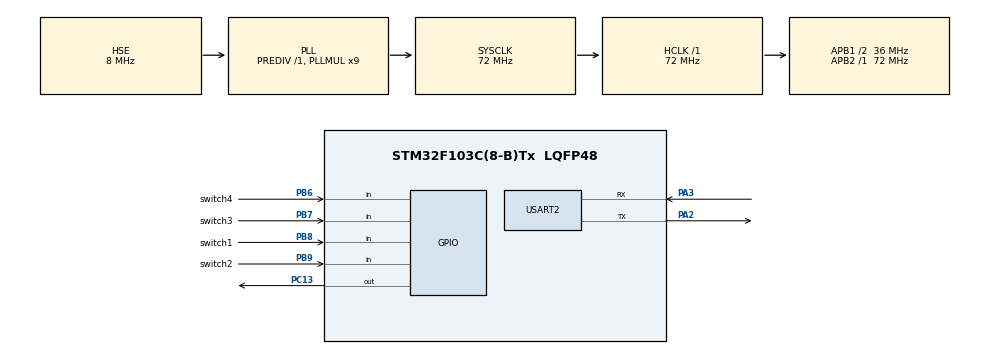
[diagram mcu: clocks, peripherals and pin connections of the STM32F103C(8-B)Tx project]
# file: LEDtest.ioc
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Mcu.Family=STM32F1
Mcu.Name=STM32F103C(8-B)Tx
Mcu.Package=LQFP48
NVIC.PriorityGroup=NVIC_PRIORITYGROUP_4
NVIC.USART2_IRQn=true\:0\:0\:false\:false\:true\:true\:true\:true
PA13.Mode=Serial_Wire
PA13.Signal=SYS_JTMS-SWDIO
PA14.Mode=Serial_Wire
PA14.Signal=SYS_JTCK-SWCLK
PA2.Mode=Asynchronous
PA2.Signal=USART2_TX
PA3.Mode=Asynchronous
PA3.Signal=USART2_RX
PB6.GPIO_Label=switch4
PB6.GPIO_PuPd=GPIO_PULLUP
PB6.Signal=GPIO_Input
PB7.GPIO_Label=switch3
PB7.GPIO_PuPd=GPIO_PULLUP
PB7.Signal=GPIO_Input
PB8.GPIO_Label=switch1
PB8.GPIO_PuPd=GPIO_PULLUP
PB8.Signal=GPIO_Input
PB9.GPIO_Label=switch2
PB9.GPIO_PuPd=GPIO_PULLUP
PB9.Signal=GPIO_Input
PC13-TAMPER-RTC.PinState=GPIO_PIN_SET
PC13-TAMPER-RTC.Signal=GPIO_Output
PC14-OSC32_IN.Mode=LSE-External-Oscillator
PC14-OSC32_IN.Signal=RCC_OSC32_IN
PC15-OSC32_OUT.Mode=LSE-External-Oscillator
PC15-OSC32_OUT.Signal=RCC_OSC32_OUT
PD0-OSC_IN.Mode=HSE-External-Oscillator
PD0-OSC_IN.Signal=RCC_OSC_IN
PD1-OSC_OUT.Mode=HSE-External-Oscillator
PD1-OSC_OUT.Signal=RCC_OSC_OUT
ProjectManager.HeapSize=0x200
ProjectManager.StackSize=0x400
ProjectManager.TargetToolchain=CMake
RCC.AHBFreq_Value=72000000
RCC.APB1CLKDivider=RCC_HCLK_DIV2
RCC.APB1Freq_Value=36000000
RCC.APB1TimFreq_Value=72000000
RCC.APB2Freq_Value=72000000
RCC.APB2TimFreq_Value=72000000
RCC.HCLKFreq_Value=72000000
RCC.PLLMUL=RCC_PLL_MUL9
RCC.PLLSourceVirtual=RCC_PLLSOURCE_HSE
RCC.SYSCLKFreq_VALUE=72000000
RCC.SYSCLKSource=RCC_SYSCLKSOURCE_PLLCLK
RCC.USBFreq_Value=72000000
USART2.VirtualMode=VM_ASYNC
board=custom

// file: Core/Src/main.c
/* USER CODE BEGIN Header */
/**
  ******************************************************************************
  * @file           : main.c
  * @brief          : Main program body
  ******************************************************************************
  * @attention
  *
  * Copyright (c) 2026 STMicroelectronics.
  * All rights reserved.
  *
  * This software is licensed under terms that can be found in the LICENSE file
  * in the root directory of this software component.
  * If no LICENSE file comes with this software, it is provided AS-IS.
  *
  ******************************************************************************
  */
/* USER CODE END Header */
#include "main.h"

UART_HandleTypeDef huart2;

void SystemClock_Config(void);
static void MX_GPIO_Init(void);
static void MX_USART2_UART_Init(void);

int main(void)
{

  /* MCU Configuration--------------------------------------------------------*/

  /* Reset of all peripherals, Initializes the Flash interface and the Systick. */
  HAL_Init();

  /* Configure the system clock */
  SystemClock_Config();

  /* Initialize all configured peripherals */
  MX_GPIO_Init();
  MX_USART2_UART_Init();
  /* USER CODE BEGIN 2 */
  // 引脚对应关系（按下=低电平）:
  // PB6 (switch4) -> horizontal_min
  // PB7 (switch3) -> vertical_min
  // PB8 (switch1) -> vertical_max
  // PB9 (switch2) -> horizontal_max
  GPIO_PinState last_horizontal_min_state = GPIO_PIN_SET;
  GPIO_PinState last_vertical_min_state = GPIO_PIN_SET;
  GPIO_PinState last_vertical_max_state = GPIO_PIN_SET;
  GPIO_PinState last_horizontal_max_state = GPIO_PIN_SET;

  /* USER CODE END 2 */

  /* Infinite loop */
  while (1)
  {

    /* USER CODE BEGIN 3 */
    // 读取 4 个开关状态（按下=低电平）
    GPIO_PinState horizontal_min_state = HAL_GPIO_ReadPin(switch4_GPIO_Port, switch4_Pin); // PB6
    GPIO_PinState vertical_min_state = HAL_GPIO_ReadPin(switch3_GPIO_Port, switch3_Pin);   // PB7
    GPIO_PinState vertical_max_state = HAL_GPIO_ReadPin(switch1_GPIO_Port, switch1_Pin);   // PB8
    GPIO_PinState horizontal_max_state = HAL_GPIO_ReadPin(switch2_GPIO_Port, switch2_Pin); // PB9

    // 当任意一个开关为低电平时，PC13 拉低；否则拉高
    if (horizontal_min_state == GPIO_PIN_RESET ||
        vertical_min_state == GPIO_PIN_RESET ||
        vertical_max_state == GPIO_PIN_RESET ||
        horizontal_max_state == GPIO_PIN_RESET)
    {
      HAL_GPIO_WritePin(GPIOC, GPIO_PIN_13, GPIO_PIN_RESET);
    }
    else
    {
      HAL_GPIO_WritePin(GPIOC, GPIO_PIN_13, GPIO_PIN_SET);
    }

    // 处理 horizontal_min 的状态变化和持续输出
    if (horizontal_min_state != last_horizontal_min_state)
    {
      // 状态改变时发送相应消息
      if (horizontal_min_state == GPIO_PIN_RESET)
      {
        HAL_UART_Transmit(&huart2, (uint8_t*)"horizontal_min_1\r\n", 18, HAL_MAX_DELAY);
      }
      else
      {
        HAL_UART_Transmit(&huart2, (uint8_t*)"horizontal_min_0\r\n", 18, HAL_MAX_DELAY);
      }
      last_horizontal_min_state = horizontal_min_state;
    }
    else if (horizontal_min_state == GPIO_PIN_RESET)
    {
      // 保持低电平时，持续输出
      HAL_UART_Transmit(&huart2, (uint8_t*)"horizontal_min_1\r\n", 18, HAL_MAX_DELAY);
    }
    else if (horizontal_min_state == GPIO_PIN_SET)
    {
      // 保持高电平时，持续输出
      HAL_UART_Transmit(&huart2, (uint8_t*)"horizontal_min_0\r\n", 18, HAL_MAX_DELAY);
    }

    // 处理 vertical_min 的状态变化和持续输出
    if (vertical_min_state != last_vertical_min_state)
    {
      // 状态改变时发送相应消息
      if (vertical_min_state == GPIO_PIN_RESET)
      {
        HAL_UART_Transmit(&huart2, (uint8_t*)"vertical_min_1\r\n", 16, HAL_MAX_DELAY);
      }
      else
      {
        HAL_UART_Transmit(&huart2, (uint8_t*)"vertical_min_0\r\n", 16, HAL_MAX_DELAY);
      }
      last_vertical_min_state = vertical_min_state;
    }
    else if (vertical_min_state == GPIO_PIN_RESET)
    {
      // 保持低电平时，持续输出
      HAL_UART_Transmit(&huart2, (uint8_t*)"vertical_min_1\r\n", 16, HAL_MAX_DELAY);
    }
    else if (vertical_min_state == GPIO_PIN_SET)
    {
      // 保持高电平时，持续输出
      HAL_UART_Transmit(&huart2, (uint8_t*)"vertical_min_0\r\n", 16, HAL_MAX_DELAY);
    }

    // 处理 vertical_max 的状态变化和持续输出
    if (vertical_max_state != last_vertical_max_state)
    {
      if (vertical_max_state == GPIO_PIN_RESET)
      {
        HAL_UART_Transmit(&huart2, (uint8_t*)"vertical_max_1\r\n", 16, HAL_MAX_DELAY);
      }
      else
      {
        HAL_UART_Transmit(&huart2, (uint8_t*)"vertical_max_0\r\n", 16, HAL_MAX_DELAY);
      }
      last_vertical_max_state = vertical_max_state;
    }
    else if (vertical_max_state == GPIO_PIN_RESET)
    {
      HAL_UART_Transmit(&huart2, (uint8_t*)"vertical_max_1\r\n", 16, HAL_MAX_DELAY);
    }
    else if (vertical_max_state == GPIO_PIN_SET)
    {
      HAL_UART_Transmit(&huart2, (uint8_t*)"vertical_max_0\r\n", 16, HAL_MAX_DELAY);
    }

    // 处理 horizontal_max 的状态变化和持续输出
    if (horizontal_max_state != last_horizontal_max_state)
    {
      if (horizontal_max_state == GPIO_PIN_RESET)
      {
        HAL_UART_Transmit(&huart2, (uint8_t*)"horizontal_max_1\r\n", 18, HAL_MAX_DELAY);
      }
      else
      {
        HAL_UART_Transmit(&huart2, (uint8_t*)"horizontal_max_0\r\n", 18, HAL_MAX_DELAY);
      }
      last_horizontal_max_state = horizontal_max_state;
    }
    else if (horizontal_max_state == GPIO_PIN_RESET)
    {
      HAL_UART_Transmit(&huart2, (uint8_t*)"horizontal_max_1\r\n", 18, HAL_MAX_DELAY);
    }
    else if (horizontal_max_state == GPIO_PIN_SET)
    {
      HAL_UART_Transmit(&huart2, (uint8_t*)"horizontal_max_0\r\n", 18, HAL_MAX_DELAY);
    }

    HAL_Delay(10);  // 短暂延时，避免CPU占用过高
  }
  /* USER CODE END 3 */
}

void SystemClock_Config(void)
{
  RCC_OscInitTypeDef RCC_OscInitStruct = {0};
  RCC_ClkInitTypeDef RCC_ClkInitStruct = {0};

  /** Initializes the RCC Oscillators according to the specified parameters
  * in the RCC_OscInitTypeDef structure.
  */
  RCC_OscInitStruct.OscillatorType = RCC_OSCILLATORTYPE_HSE;
  RCC_OscInitStruct.HSEState = RCC_HSE_ON;
  RCC_OscInitStruct.HSEPredivValue = RCC_HSE_PREDIV_DIV1;
  RCC_OscInitStruct.HSIState = RCC_HSI_ON;
  RCC_OscInitStruct.PLL.PLLState = RCC_PLL_ON;
  RCC_OscInitStruct.PLL.PLLSource = RCC_PLLSOURCE_HSE;
  RCC_OscInitStruct.PLL.PLLMUL = RCC_PLL_MUL9;
  if (HAL_RCC_OscConfig(&RCC_OscInitStruct) != HAL_OK)
  {
    Error_Handler();
  }

  /** Initializes the CPU, AHB and APB buses clocks
  */
  RCC_ClkInitStruct.ClockType = RCC_CLOCKTYPE_HCLK|RCC_CLOCKTYPE_SYSCLK
                              |RCC_CLOCKTYPE_PCLK1|RCC_CLOCKTYPE_PCLK2;
  RCC_ClkInitStruct.SYSCLKSource = RCC_SYSCLKSOURCE_PLLCLK;
  RCC_ClkInitStruct.AHBCLKDivider = RCC_SYSCLK_DIV1;
  RCC_ClkInitStruct.APB1CLKDivider = RCC_HCLK_DIV2;
  RCC_ClkInitStruct.APB2CLKDivider = RCC_HCLK_DIV1;

  if (HAL_RCC_ClockConfig(&RCC_ClkInitStruct, FLASH_LATENCY_2) != HAL_OK)
  {
    Error_Handler();
  }
}

static void MX_USART2_UART_Init(void)
{

  huart2.Instance = USART2;
  huart2.Init.BaudRate = 115200;
  huart2.Init.WordLength = UART_WORDLENGTH_8B;
  huart2.Init.StopBits = UART_STOPBITS_1;
  huart2.Init.Parity = UART_PARITY_NONE;
  huart2.Init.Mode = UART_MODE_TX_RX;
  huart2.Init.HwFlowCtl = UART_HWCONTROL_NONE;
  huart2.Init.OverSampling = UART_OVERSAMPLING_16;
  if (HAL_UART_Init(&huart2) != HAL_OK)
  {
    Error_Handler();
  }

}

static void MX_GPIO_Init(void)
{
  GPIO_InitTypeDef GPIO_InitStruct = {0};

  /* GPIO Ports Clock Enable */
  __HAL_RCC_GPIOC_CLK_ENABLE();
  __HAL_RCC_GPIOD_CLK_ENABLE();
  __HAL_RCC_GPIOA_CLK_ENABLE();
  __HAL_RCC_GPIOB_CLK_ENABLE();

  /*Configure GPIO pin Output Level */
  HAL_GPIO_WritePin(GPIOC, GPIO_PIN_13, GPIO_PIN_SET);

  /*Configure GPIO pin : PC13 */
  GPIO_InitStruct.Pin = GPIO_PIN_13;
  GPIO_InitStruct.Mode = GPIO_MODE_OUTPUT_PP;
  GPIO_InitStruct.Pull = GPIO_NOPULL;
  GPIO_InitStruct.Speed = GPIO_SPEED_FREQ_LOW;
  HAL_GPIO_Init(GPIOC, &GPIO_InitStruct);

  /*Configure GPIO pins : switch4_Pin switch3_Pin switch1_Pin switch2_Pin */
  GPIO_InitStruct.Pin = switch4_Pin|switch3_Pin|switch1_Pin|switch2_Pin;
  GPIO_InitStruct.Mode = GPIO_MODE_INPUT;
  GPIO_InitStruct.Pull = GPIO_PULLUP;
  HAL_GPIO_Init(GPIOB, &GPIO_InitStruct);

}

void Error_Handler(void)
{
  __disable_irq();
  while (1)
  {
  }
}
